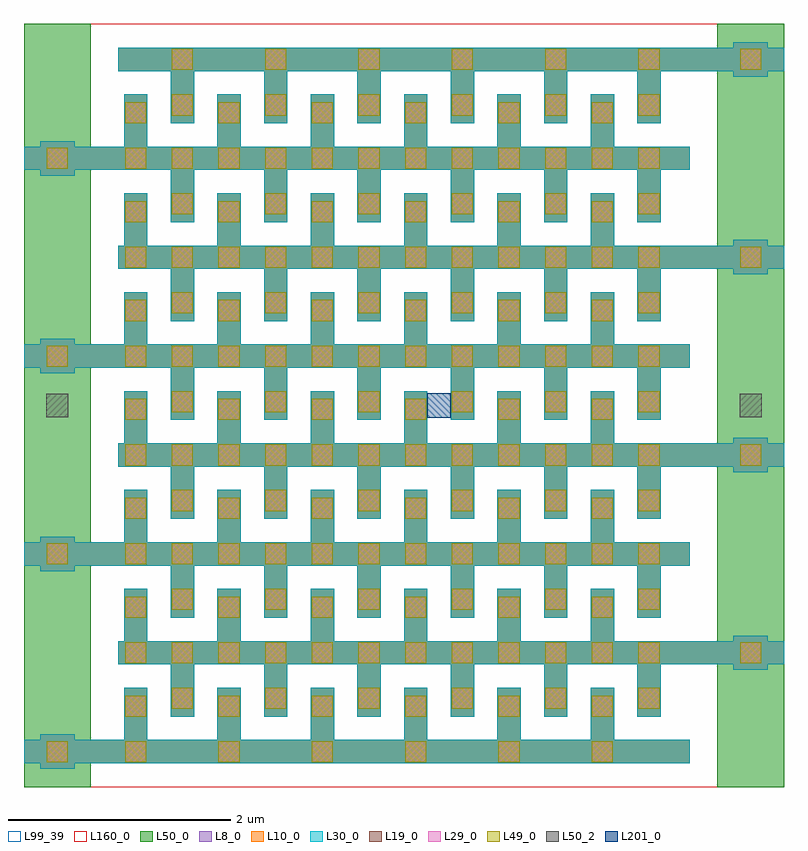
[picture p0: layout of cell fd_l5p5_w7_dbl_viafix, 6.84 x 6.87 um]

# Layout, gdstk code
import gdstk
lib = gdstk.Library(unit=1e-6, precision=1e-09)
def R(c, l, rs):  # rectangles x0, y0, x1, y1
    for r in rs: c.add(gdstk.rectangle(r[:2], r[2:], *l))
def A(c, l, x, y, w, h, nx, ny, dx, dy):  # array of equal rectangles
    R(c, l, [(x+i*dx, y+j*dy, x+i*dx+w, y+j*dy+h) for i in range(nx) for j in range(ny)])
L8_0 = (8, 0)
L10_0 = (10, 0)
L19_0 = (19, 0)
L29_0 = (29, 0)
L30_0 = (30, 0)
L49_0 = (49, 0)
L50_0 = (50, 0)
L50_2 = (50, 2)
L99_39 = (99, 39)
L160_0 = (160, 0)
L201_0 = (201, 0)

fd_l5p5_w7_dbl_viafix = lib.new_cell('fd_l5p5_w7_dbl_viafix')
A(fd_l5p5_w7_dbl_viafix, L8_0, -0.755, -0.155, 0.31, 0.31, 1, 4, 0, 1.78)
A(fd_l5p5_w7_dbl_viafix, L8_0, -0.9, -0.105, 5.99, 0.21, 1, 4, 0, 1.78)
A(fd_l5p5_w7_dbl_viafix, L8_0, 0, 0, 0.21, 0.575, 6, 7, 0.84, 0.89)
A(fd_l5p5_w7_dbl_viafix, L8_0, 0.42, 0.315, 0.21, 0.575, 6, 7, 0.84, 0.89)
A(fd_l5p5_w7_dbl_viafix, L8_0, 5.485, 0.735, 0.31, 0.31, 1, 4, 0, 1.78)
A(fd_l5p5_w7_dbl_viafix, L8_0, -0.05, 0.785, 5.99, 0.21, 1, 4, 0, 1.78)
A(fd_l5p5_w7_dbl_viafix, L10_0, -0.755, -0.155, 0.31, 0.31, 1, 4, 0, 1.78)
A(fd_l5p5_w7_dbl_viafix, L10_0, -0.9, -0.105, 5.99, 0.21, 1, 4, 0, 1.78)
A(fd_l5p5_w7_dbl_viafix, L10_0, 0, 0, 0.21, 0.575, 6, 7, 0.84, 0.89)
A(fd_l5p5_w7_dbl_viafix, L10_0, 0.42, 0.315, 0.21, 0.575, 6, 7, 0.84, 0.89)
A(fd_l5p5_w7_dbl_viafix, L10_0, 5.485, 0.735, 0.31, 0.31, 1, 4, 0, 1.78)
A(fd_l5p5_w7_dbl_viafix, L10_0, -0.05, 0.785, 5.99, 0.21, 1, 4, 0, 1.78)
A(fd_l5p5_w7_dbl_viafix, L19_0, -0.695, -0.095, 0.19, 0.19, 1, 4, 0, 1.78)
A(fd_l5p5_w7_dbl_viafix, L19_0, 0.01, -0.095, 0.19, 0.19, 6, 2, 0.84, 0.41)
A(fd_l5p5_w7_dbl_viafix, L19_0, 0.43, 0.385, 0.19, 0.19, 6, 7, 0.84, 0.89)
A(fd_l5p5_w7_dbl_viafix, L19_0, 0.01, 0.795, 0.19, 0.19, 12, 6, 0.42, 0.89)
A(fd_l5p5_w7_dbl_viafix, L19_0, 5.545, 0.795, 0.19, 0.19, 1, 4, 0, 1.78)
A(fd_l5p5_w7_dbl_viafix, L19_0, 0.01, 1.205, 0.19, 0.19, 6, 6, 0.84, 0.89)
A(fd_l5p5_w7_dbl_viafix, L19_0, 0.43, 6.135, 0.19, 0.19, 6, 1, 0.84, 0)
A(fd_l5p5_w7_dbl_viafix, L29_0, -0.695, -0.095, 0.19, 0.19, 1, 4, 0, 1.78)
A(fd_l5p5_w7_dbl_viafix, L29_0, 0.01, -0.095, 0.19, 0.19, 6, 2, 0.84, 0.41)
A(fd_l5p5_w7_dbl_viafix, L29_0, 0.43, 0.385, 0.19, 0.19, 6, 7, 0.84, 0.89)
A(fd_l5p5_w7_dbl_viafix, L29_0, 0.01, 0.795, 0.19, 0.19, 12, 6, 0.42, 0.89)
A(fd_l5p5_w7_dbl_viafix, L29_0, 5.545, 0.795, 0.19, 0.19, 1, 4, 0, 1.78)
A(fd_l5p5_w7_dbl_viafix, L29_0, 0.01, 1.205, 0.19, 0.19, 6, 6, 0.84, 0.89)
A(fd_l5p5_w7_dbl_viafix, L29_0, 0.43, 6.135, 0.19, 0.19, 6, 1, 0.84, 0)
A(fd_l5p5_w7_dbl_viafix, L30_0, -0.755, -0.155, 0.31, 0.31, 1, 4, 0, 1.78)
A(fd_l5p5_w7_dbl_viafix, L30_0, -0.9, -0.105, 5.99, 0.21, 1, 4, 0, 1.78)
A(fd_l5p5_w7_dbl_viafix, L30_0, 0, 0, 0.21, 0.575, 6, 7, 0.84, 0.89)
A(fd_l5p5_w7_dbl_viafix, L30_0, 0.42, 0.315, 0.21, 0.575, 6, 7, 0.84, 0.89)
A(fd_l5p5_w7_dbl_viafix, L30_0, 5.485, 0.735, 0.31, 0.31, 1, 4, 0, 1.78)
A(fd_l5p5_w7_dbl_viafix, L30_0, -0.05, 0.785, 5.99, 0.21, 1, 4, 0, 1.78)
A(fd_l5p5_w7_dbl_viafix, L49_0, -0.695, -0.095, 0.19, 0.19, 1, 4, 0, 1.78)
A(fd_l5p5_w7_dbl_viafix, L49_0, 0.01, -0.095, 0.19, 0.19, 6, 2, 0.84, 0.41)
A(fd_l5p5_w7_dbl_viafix, L49_0, 0.43, 0.385, 0.19, 0.19, 6, 7, 0.84, 0.89)
A(fd_l5p5_w7_dbl_viafix, L49_0, 0.01, 0.795, 0.19, 0.19, 12, 6, 0.42, 0.89)
A(fd_l5p5_w7_dbl_viafix, L49_0, 5.545, 0.795, 0.19, 0.19, 1, 4, 0, 1.78)
A(fd_l5p5_w7_dbl_viafix, L49_0, 0.01, 1.205, 0.19, 0.19, 6, 6, 0.84, 0.89)
A(fd_l5p5_w7_dbl_viafix, L49_0, 0.43, 6.135, 0.19, 0.19, 6, 1, 0.84, 0)
A(fd_l5p5_w7_dbl_viafix, L50_0, -0.9, -0.105, 5.99, 0.21, 1, 4, 0, 1.78)
A(fd_l5p5_w7_dbl_viafix, L50_0, 0, 0, 0.21, 0.575, 6, 7, 0.84, 0.89)
A(fd_l5p5_w7_dbl_viafix, L50_0, 0.42, 0.315, 0.21, 0.575, 6, 7, 0.84, 0.89)
A(fd_l5p5_w7_dbl_viafix, L50_0, -0.05, 0.785, 5.99, 0.21, 1, 4, 0, 1.78)
R(fd_l5p5_w7_dbl_viafix, L50_0, [(-0.9,-0.32,-0.3,6.55), (5.34,-0.32,5.94,6.55)])
R(fd_l5p5_w7_dbl_viafix, L50_2, [(-0.7,3.01,-0.5,3.22), (5.54,3.01,5.74,3.22)])
R(fd_l5p5_w7_dbl_viafix, L99_39, [(-0.9,-0.32,5.94,6.55)])
R(fd_l5p5_w7_dbl_viafix, L160_0, [(-0.9,-0.32,5.94,6.55)])
R(fd_l5p5_w7_dbl_viafix, L201_0, [(2.73,3.005,2.94,3.225)])
fd_l5p5_w7_dbl_viafix.add(gdstk.Label('cap_cmomi C=29.336fF', (-0.9,-0.82), layer=63, texttype=0))

lib.write_gds('fd_l5p5_w7_dbl_viafix.gds')
